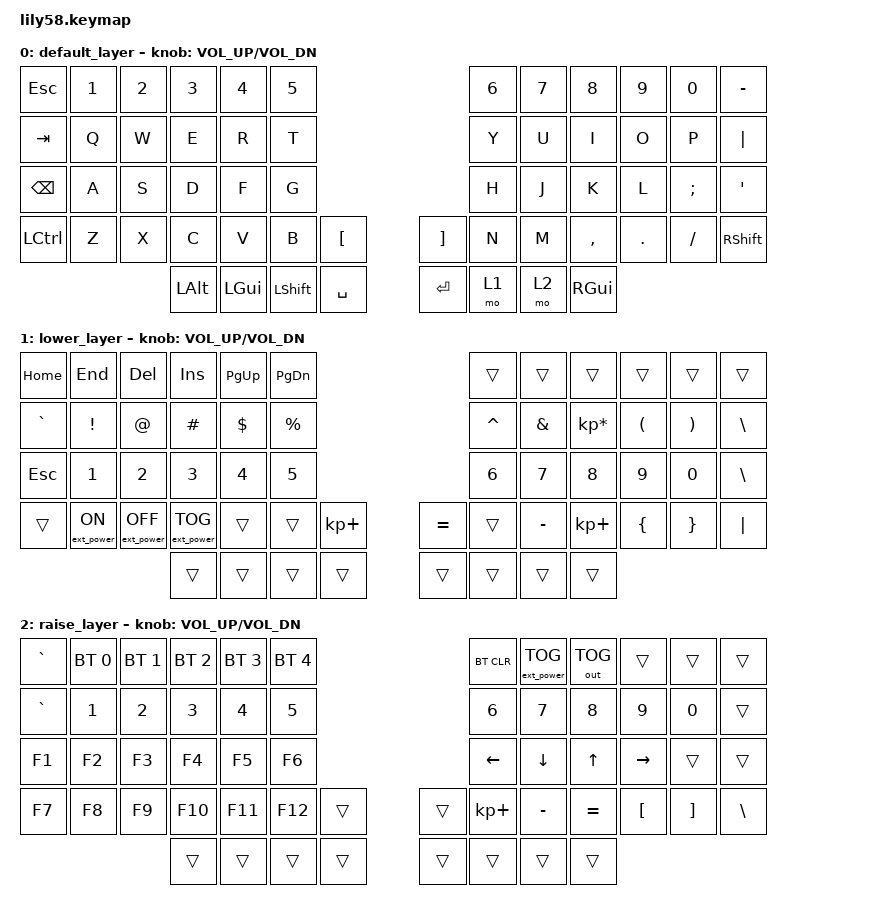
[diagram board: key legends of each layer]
/*
 * Copyright (c) 2020 The ZMK Contributors
 *
 * SPDX-License-Identifier: MIT
 */

#include <behaviors.dtsi>
#include <dt-bindings/zmk/keys.h>
#include <dt-bindings/zmk/bt.h>
#include <dt-bindings/zmk/ext_power.h>
#include <dt-bindings/zmk/outputs.h>


/ {
	keymap {
		compatible = "zmk,keymap";

		default_layer {
// ------------------------------------------------------------------------------------------------------------
// |  ESC  |  1  |  2  |  3   |  4   |  5   |                   |  6   |  7    |  8    |  9   |   0   |   -   |
// |  TAB  |  Q  |  W  |  E   |  R   |  T   |                   |  Y   |  U    |  I    |  O   |   P   |   |   |
// |  BSPC |  A  |  S  |  D   |  F   |  G   |                   |  H   |  J    |  K    |  L   |   ;   |   '   |
// | LCTRL |  Z  |  X  |  C   |  V   |  B   |   [    |  |  ]    |  N   |  M    |  ,    |  .   |   /   | SHIFT |
//                     | ALT  | GUI  | SHIFT|  SPACE |  | ENTER | LOWER| RAISE  | GUI   |
			bindings = <
&kp ESC   &kp N1 &kp N2 &kp N3   &kp N4   &kp N5                     &kp N6 &kp N7   &kp N8    &kp N9  &kp N0   &kp MINUS
&kp TAB   &kp Q  &kp W  &kp E    &kp R    &kp T                      &kp Y  &kp U    &kp I     &kp O   &kp P    &kp PIPE
&kp BSPC &kp A  &kp S  &kp D    &kp F    &kp G                      &kp H  &kp J    &kp K     &kp L   &kp SEMI &kp SQT
&kp LCTRL &kp Z  &kp X  &kp C    &kp V    &kp B  &kp LBKT &kp RBKT &kp N  &kp M    &kp COMMA &kp DOT &kp FSLH &kp RSHFT
                        &kp LALT &kp LGUI &kp LSHIFT  &kp SPACE  &kp RET  &mo 1   &mo 2  &kp RGUI
			>;

			sensor-bindings = <&inc_dec_kp C_VOL_UP C_VOL_DN>;
		};

		lower_layer {
// ------------------------------------------------------------------------------------------------------------
// |  HOME | END | DEL | INS  | PG_UP| PG_DN|                   |      |       |       |      |       |       |
// |   `   |  !  |  @  |  #   |  $   |  %   |                   |  ^   |  &    |  *    |  (   |   )   |   ~   |
// |  ESC  |  1  |  2  |  3   |  4   |  5   |                   |  6   |  7    |  8    |  9   |   0   |   \   |
// |       |     |     |      |      |      |   +    |  |   =   |      |  _    |  +    |  {   |   }   |   \   |
//                     |      |      |      |        |  |       |      |       |       |
			bindings = <
&kp HOME  &kp END  &kp DEL  &kp INS  &kp PG_UP   &kp PG_DN                   &trans    &trans    &trans   &trans    &trans    &trans
&kp GRAVE  &kp EXCL         &kp AT            &kp HASH          &kp DOLLAR   &kp PRCNT                    &kp CARET &kp AMPS  &kp KP_MULTIPLY &kp LPAR  &kp RPAR  &kp BSLH
&kp ESC  &kp N1           &kp N2            &kp N3            &kp N4       &kp N5                       &kp N6   &kp N7      &kp N8          &kp N9    &kp N0    &kp BSLH
&trans     &ext_power EP_ON &ext_power EP_OFF &ext_power EP_TOG &trans       &trans    &kp KP_PLUS   &kp EQUAL    &trans    &kp MINUS &kp KP_PLUS     &kp LBRC  &kp RBRC  &kp PIPE
                                              &trans            &trans       &trans    &trans   &trans    &trans    &trans    &trans
			>;

			sensor-bindings = <&inc_dec_kp C_VOL_UP C_VOL_DN>;
		};

		raise_layer {
// ------------------------------------------------------------------------------------------------------------
// | GRAVE | BT1 | BT2 |  BT3 |  BT4 |  BT5 |                   | BTCL | P_TOG | O_TOG |      |       |       |
// |   `   |  1  |  2  |  3   |  4   |  5   |                   |  6   |   7   |   8   |  9   |   0   |       |
// |   F1  |  F2 |  F3 |  F4  |  F5  |  F6  |                   |  <-  |   v   |   ^   |  ->  |       |       |
// |   F7  |  F8 |  F9 |  F10 |  F11 |  F12 |        |  |       |  +   |   -   |   =   |  [   |   ]   |   \   |
//                     |      |      |      |        |  |       |      |       |       |
			bindings = <
&kp GRAVE &bt BT_SEL 0  &bt BT_SEL 1 &bt BT_SEL 2  &bt BT_SEL 3 &bt BT_SEL 4                    &bt BT_CLR    &ext_power EP_TOG    &out OUT_TOG    &trans   &trans    &trans
&kp GRAVE &kp N1 &kp N2 &kp N3  &kp N4  &kp N5                       &kp N6      &kp N7    &kp N8    &kp N9   &kp N0    &trans
&kp F1    &kp F2 &kp F3 &kp F4  &kp F5  &kp F6                       &kp LEFT  &kp DOWN  &kp UP   &kp RIGHT   &trans    &trans
&kp F7    &kp F8 &kp F9 &kp F10 &kp F11 &kp F12   &trans   &trans    &kp KP_PLUS &kp MINUS &kp EQUAL &kp LBKT &kp RBKT  &kp BSLH
                        &trans  &trans  &trans    &trans   &trans    &trans      &trans    &trans
			>;

			sensor-bindings = <&inc_dec_kp C_VOL_UP C_VOL_DN>;
		};
	};
};
